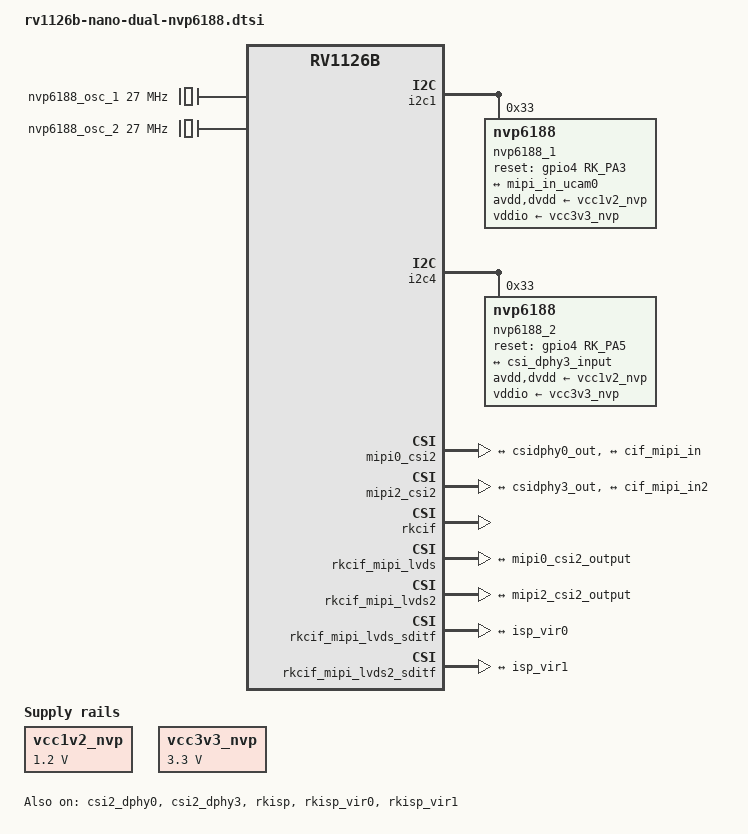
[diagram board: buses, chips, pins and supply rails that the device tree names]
// SPDX-License-Identifier: (GPL-2.0+ OR MIT)
/*
 * Guangzhou Easy EAI Technology Co., Ltd.
 *
 */

/ {
	nvp6188_osc_1: nvp6188_osc_1 {
		compatible = "fixed-clock";
		#clock-cells = <1>;
		clock-frequency  = <27000000>;
		clock-output-names = "nvp6188-osc-1";
	};

	nvp6188_osc_2: nvp6188_osc_2 {
		compatible = "fixed-clock";
		#clock-cells = <1>;
		clock-frequency  = <27000000>;
		clock-output-names = "nvp6188-osc-2";
	};

	vcc1v2_nvp: vcc1v2-nvp-regulator {
		compatible = "regulator-fixed";
		regulator-name = "vcc1v2_nvp";
		regulator-boot-on;
		regulator-always-on;
		regulator-min-microvolt = <1200000>;
		regulator-max-microvolt = <1200000>;
	};

	vcc3v3_nvp: vcc3v3-nvp-regulator {
		compatible = "regulator-fixed";
		regulator-name = "vcc3v3_nvp";
		regulator-boot-on;
		regulator-always-on;
		regulator-min-microvolt = <3300000>;
		regulator-max-microvolt = <3300000>;
	};
};

&csi2_dphy0 {
	status = "okay";

	ports {
		#address-cells = <1>;
		#size-cells = <0>;
		port@0 {
			reg = <0>;
			#address-cells = <1>;
			#size-cells = <0>;

			mipi_in_ucam0: endpoint@1 {
				reg = <1>;
				remote-endpoint = <&ucam_out0>;
				data-lanes = <1 2 3 4>;
			};
		};
		port@1 {
			reg = <1>;
			#address-cells = <1>;
			#size-cells = <0>;

			csidphy0_out: endpoint@0 {
				reg = <0>;
				remote-endpoint = <&mipi0_csi2_input>;
				data-lanes = <1 2 3 4>;
			};
		};
	};
};

&csi2_dphy3 {
	status = "okay";

	ports {
		#address-cells = <1>;
		#size-cells = <0>;

		port@0 {
			reg = <0>;
			#address-cells = <1>;
			#size-cells = <0>;

			csi_dphy3_input: endpoint@1 {
				reg = <1>;
				remote-endpoint = <&ucam_out1>;
				data-lanes = <1 2 3 4>;
			};
		};

		port@1 {
			reg = <1>;
			#address-cells = <1>;
			#size-cells = <0>;

			csidphy3_out: endpoint@0 {
				reg = <0>;
				remote-endpoint = <&mipi2_csi2_input>;
				data-lanes = <1 2 3 4>;
			};
		};
	};
};


&i2c1 {
	status = "okay";
	pinctrl-names = "default";
	pinctrl-0 = <&i2c1m2_pins>;

	nvp6188_1: nvp6188_1@33 {
		status = "okay";
		compatible = "nvp6188";
		reg = <0x33>;
		clocks = <&nvp6188_osc_1 0>;
		clock-names = "xvclk";
		pinctrl-names = "default";
		pinctrl-0 = <&csi0_rst>;
		reset-gpios = <&gpio4 RK_PA3 GPIO_ACTIVE_HIGH>;
		/* 关键电源配置 */
		avdd-supply = <&vcc1v2_nvp>;  /* 1.2V模拟电源 (VDD1A, VDD1A_PLL) */
		dvdd-supply = <&vcc1v2_nvp>;  /* 1.2V数字电源 (VDD1D) */
		vddio-supply = <&vcc3v3_nvp>; /* 3.3V I/O电源 (VDD3D, VDD3A) */
		rockchip,camera-module-index = <0>;
		rockchip,camera-module-facing = "front";
		rockchip,camera-module-name = "nvp6188";
		rockchip,camera-module-lens-name = "nvp6188";

		port {
			ucam_out0: endpoint {
				remote-endpoint = <&mipi_in_ucam0>;
				data-lanes = <1 2 3 4>;
			};
		};
	};
};

&i2c4 {
	status = "okay";
	pinctrl-names = "default";
	pinctrl-0 = <&i2c4m2_pins>;

	nvp6188_2: nvp6188_2@33 {
		status = "okay";
		compatible = "nvp6188";
		reg = <0x33>;
		clocks = <&nvp6188_osc_2 0>;
		clock-names = "xvclk";
		pinctrl-names = "default";
		pinctrl-0 = <&csi1_rst>;
		reset-gpios = <&gpio4 RK_PA5 GPIO_ACTIVE_HIGH>;
		/* 关键电源配置 */
		avdd-supply = <&vcc1v2_nvp>;  /* 1.2V模拟电源 (VDD1A, VDD1A_PLL) */
		dvdd-supply = <&vcc1v2_nvp>;  /* 1.2V数字电源 (VDD1D) */
		vddio-supply = <&vcc3v3_nvp>; /* 3.3V I/O电源 (VDD3D, VDD3A) */
		rockchip,camera-module-index = <1>;
		rockchip,camera-module-facing = "back";
		rockchip,camera-module-name = "nvp6188";
		rockchip,camera-module-lens-name = "nvp6188";
		via_vicap = <0>;

		port {
			ucam_out1: endpoint {
				remote-endpoint = <&csi_dphy3_input>;
				data-lanes = <1 2 3 4>;
			};
		};
	};
};


&mipi0_csi2 {
	status = "okay";
	ports {
		#address-cells = <1>;
		#size-cells = <0>;

		port@0 {
			reg = <0>;
			#address-cells = <1>;
			#size-cells = <0>;

			mipi0_csi2_input: endpoint@1 {
				reg = <1>;
				remote-endpoint = <&csidphy0_out>;
				data-lanes = <1 2 3 4>;
			};
		};

		port@1 {
			reg = <1>;
			#address-cells = <1>;
			#size-cells = <0>;

			mipi0_csi2_output: endpoint@0 {
				reg = <0>;
				remote-endpoint = <&cif_mipi_in>;
				data-lanes = <1 2 3 4>;
			};
		};
	};
};


&mipi2_csi2 {
        status = "okay";

        ports {
                #address-cells = <1>;
                #size-cells = <0>;

                port@0 {
                        reg = <0>;
                        #address-cells = <1>;
                        #size-cells = <0>;

                        mipi2_csi2_input: endpoint@1 {
                                reg = <1>;
                                remote-endpoint = <&csidphy3_out>;
                        };
                };

                port@1 {
                        reg = <1>;
                        #address-cells = <1>;
                        #size-cells = <0>;

                        mipi2_csi2_output: endpoint@0 {
                                reg = <0>;
                                remote-endpoint = <&cif_mipi_in2>;
                        };
                };
        };
};

&pinctrl {
	mipi-csi {
		/omit-if-no-ref/
		csi0_rst: csi0_rst {
			rockchip,pins =
				<4 RK_PA3 RK_FUNC_GPIO &pcfg_pull_up>;
		};
		/omit-if-no-ref/
		csi1_rst: csi1_rst {
			rockchip,pins =
				<4 RK_PA5 RK_FUNC_GPIO &pcfg_pull_up>;
		};
	};
};

&rkcif {
	status = "okay";
};

&rkcif_mmu {
	status = "disabled";
};

&rkcif_mipi_lvds {
	status = "okay";
	rockchip,cif-monitor = <3 2 10 1000 5>;
	port {
		cif_mipi_in: endpoint {
			remote-endpoint = <&mipi0_csi2_output>;
			data-lanes = <1 2 3 4>;
		};
	};
};


&rkcif_mipi_lvds2 {
        status = "okay";
        rockchip,cif-monitor = <3 2 10 1000 5>;
        port {
                cif_mipi_in2: endpoint {
                        remote-endpoint = <&mipi2_csi2_output>;
                        data-lanes = <1 2 3 4>;
                };
        };
};



&rkcif_mipi_lvds_sditf {
	status = "okay";
	port {
                mipi_lvds_sditf: endpoint {
                        remote-endpoint = <&isp_vir0>;
                };
        };

};

&rkcif_mipi_lvds2_sditf {
        status = "okay";
    	  
        port {
                mipi_lvds2_sditf: endpoint {
                        remote-endpoint = <&isp_vir1>;
                };
        };
    
};

&rkisp {
	status = "okay";
};

&rkisp_vir0 {
	status = "okay";

	ports {
		#address-cells = <1>;
                #size-cells = <0>;
		port@0 {
			reg = <0>;
			#address-cells = <1>;
			#size-cells = <0>;

			isp_vir0: endpoint@0 {
				reg = <0>;
				remote-endpoint = <&mipi_lvds_sditf>;
				data-lanes = <1 2 3 4>;
			};
		};
	};
};

&rkisp_vir1 {
        status = "okay";
  
        ports{
	     #address-cells = <1>;
             #size-cells = <0>;		
	      port@0 {
		reg = <0>; 	 
                #address-cells = <1>;
                #size-cells = <0>;

                isp_vir1: endpoint@0 {
                        reg = <0>;
                        remote-endpoint = <&mipi_lvds2_sditf>;
                };
        };
  };
};



